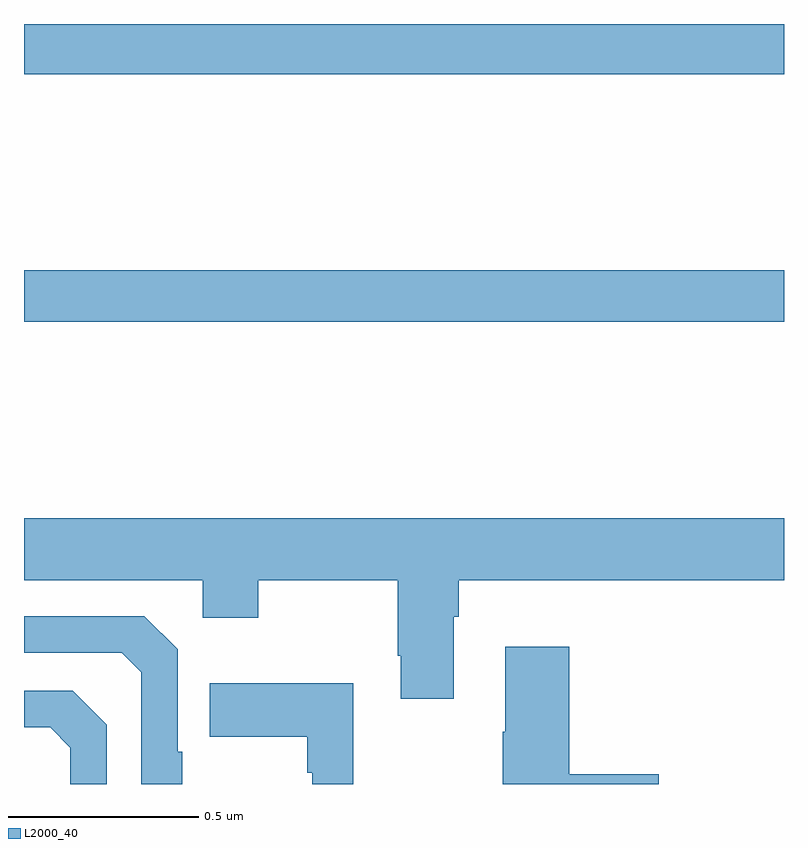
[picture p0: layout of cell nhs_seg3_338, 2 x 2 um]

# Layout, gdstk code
import gdstk
lib = gdstk.Library(unit=1e-6, precision=1e-09)
def R(c, l, rs):  # rectangles x0, y0, x1, y1
    for r in rs: c.add(gdstk.rectangle(r[:2], r[2:], *l))
def P(c, l, *ps):  # polygons
    for p in ps: c.add(gdstk.Polygon(p, *l))
L2000_40 = (2000, 40)

nhs_seg3_338 = lib.new_cell('nhs_seg3_338')
R(nhs_seg3_338, L2000_40, [(115,681.616,117,681.752), (115,682.268,117,682.4)])
P(nhs_seg3_338, L2000_40, [(116.131,680.84),(116.144,680.84),(116.144,680.936),(117,680.936),(117,681.1),(115,681.1),(115,680.936),(115.47,680.936),(115.47,680.837),(115.617,680.837),(115.617,680.936),(115.984,680.936),(115.984,680.737),(115.991,680.737),(115.991,680.625),(116.131,680.625)],
  [(115.417,680.485),(115.404,680.485),(115.404,680.754),(115.317,680.841),(115,680.841),(115,680.745),(115.257,680.745),(115.308,680.694),(115.308,680.4),(115.417,680.4)],
  [(116.671,680.426),(116.435,680.426),(116.435,680.761),(116.267,680.761),(116.267,680.537),(116.26,680.537),(116.26,680.4),(116.671,680.4)],
  [(115.867,680.665),(115.489,680.665),(115.489,680.525),(115.746,680.525),(115.746,680.429),(115.758,680.429),(115.758,680.4),(115.867,680.4)],
  [(115.218,680.556),(115.128,680.646),(115,680.646),(115,680.549),(115.069,680.549),(115.122,680.496),(115.122,680.4),(115.218,680.4)])

lib.write_gds('nhs_seg3_338.gds')
